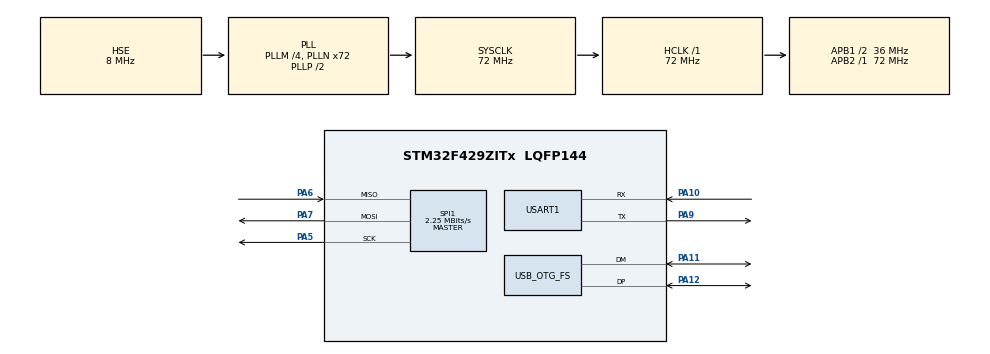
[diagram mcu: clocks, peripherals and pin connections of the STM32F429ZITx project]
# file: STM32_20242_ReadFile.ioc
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FATFS._MAX_SS=4096
FATFS._USE_LFN=1
Mcu.Family=STM32F4
Mcu.Name=STM32F429ZITx
Mcu.Package=LQFP144
NVIC.OTG_FS_IRQn=true\:0\:0\:false\:false\:true\:false\:true\:true
NVIC.PriorityGroup=NVIC_PRIORITYGROUP_4
NVIC.USART1_IRQn=true\:0\:0\:false\:false\:true\:true\:true\:true
PA10.Mode=Asynchronous
PA10.Signal=USART1_RX
PA11.Mode=Device_Only
PA11.Signal=USB_OTG_FS_DM
PA12.Mode=Device_Only
PA12.Signal=USB_OTG_FS_DP
PA5.Mode=Full_Duplex_Master
PA5.Signal=SPI1_SCK
PA6.Mode=Full_Duplex_Master
PA6.Signal=SPI1_MISO
PA7.Mode=Full_Duplex_Master
PA7.Signal=SPI1_MOSI
PA9.Mode=Asynchronous
PA9.Signal=USART1_TX
PH0/OSC_IN.Mode=HSE-External-Oscillator
PH0/OSC_IN.Signal=RCC_OSC_IN
PH1/OSC_OUT.Mode=HSE-External-Oscillator
PH1/OSC_OUT.Signal=RCC_OSC_OUT
ProjectManager.HeapSize=0x200
ProjectManager.StackSize=0x400
ProjectManager.TargetToolchain=STM32CubeIDE
RCC.48MHZClocksFreq_Value=48000000
RCC.AHBFreq_Value=72000000
RCC.APB1CLKDivider=RCC_HCLK_DIV2
RCC.APB1Freq_Value=36000000
RCC.APB1TimFreq_Value=72000000
RCC.APB2Freq_Value=72000000
RCC.APB2TimFreq_Value=72000000
RCC.CortexFreq_Value=72000000
RCC.HCLKFreq_Value=72000000
RCC.HSE_VALUE=8000000
RCC.HSI_VALUE=16000000
RCC.LSE_VALUE=32768
RCC.PLLM=4
RCC.PLLN=72
RCC.PLLQ=3
RCC.SYSCLKFreq_VALUE=72000000
RCC.SYSCLKSource=RCC_SYSCLKSOURCE_PLLCLK
RCC.VCOOutputFreq_Value=144000000
SPI1.BaudRatePrescaler=SPI_BAUDRATEPRESCALER_32
SPI1.CalculateBaudRate=2.25 MBits/s
SPI1.Direction=SPI_DIRECTION_2LINES
SPI1.Mode=SPI_MODE_MASTER
SPI1.VirtualType=VM_MASTER
USART1.VirtualMode=VM_ASYNC
USB_DEVICE.CLASS_NAME_FS=MSC
USB_DEVICE.VirtualMode-MSC_FS=Msc
USB_DEVICE.VirtualModeFS=Msc_FS
USB_OTG_FS.VirtualMode=Device_Only
VP_FATFS_VS_Generic.Mode=User_defined
VP_USB_DEVICE_VS_USB_DEVICE_MSC_FS.Mode=MSC_FS
board=custom

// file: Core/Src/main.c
/* USER CODE BEGIN Header */
/**
  ******************************************************************************
  * @file           : main.c
  * @brief          : Main program body
  ******************************************************************************
  * @attention
  *
  * Copyright (c) 2025 STMicroelectronics.
  * All rights reserved.
  *
  * This software is licensed under terms that can be found in the LICENSE file
  * in the root directory of this software component.
  * If no LICENSE file comes with this software, it is provided AS-IS.
  *
  ******************************************************************************
  */
/* USER CODE END Header */
#include "main.h"
#include "fatfs.h"
#include "usb_device.h"
#include "string.h"
#include "fatfs_sd.h"
#include "stm32f4xx_hal.h"
#include <stdint.h>

/* USER CODE BEGIN PTD */
//#define f_size(fp)  ((fp)->obj.objsize)

/* USER CODE END PTD */

SPI_HandleTypeDef hspi1;

UART_HandleTypeDef huart1;

void SystemClock_Config(void);
static void MX_GPIO_Init(void);
static void MX_SPI1_Init(void);
static void MX_USART1_UART_Init(void);
/* USER CODE BEGIN PFP */
void SD_List_File(void);
void SD_creatSubDir(char* filename);
void SD_deleteFolder(char* foldername);
/* USER CODE END PFP */

/* USER CODE BEGIN 0 */
FATFS fs;
FIL fil;
FRESULT fresult;
char buffer[1024];

UINT br, bw;

FATFS *pfs;			// con trỏ đến hệ thống file system
DWORD fre_clust;
uint32_t total, free_space;
char option[4];
char namebuf[128];
char filebuf[1024];
FRESULT fres;

void send_uart(char *string)
{
	uint16_t len = strlen(string);
  char buf1[len];
  memset(buf1, 0, sizeof(buf1));
  strcpy(buf1, string);
  HAL_UART_Transmit(&huart1,(char*) buf1, sizeof(buf1), 2000);

}

int bufsize(char *buf){
	int i=0;
	while (*buf++ != '\0' )i++;

	return i;
}

void clear_buffer (void)
{
	for (int i=0; i<1024; i++) buffer[i] = '\0';
}

// Hàm nhận chuỗi từ UART (blocking, kết thúc khi gặp '!' hoặc '\n')
void uart_receive_string(char* buf, uint16_t maxlen) {
    uint16_t i = 0;
    char c;
    while (i < maxlen - 1) {
        HAL_UART_Receive(&huart1, (uint8_t*)&c, 1, HAL_MAX_DELAY);
        if (c == '!' || c == '\n') break;
        buf[i++] = c;
        HAL_UART_Transmit(&huart1, (uint8_t*)&c, 1, 100); // Echo lại ký tự
    }
    buf[i] = '\0';
    char crlf[2] = "\r\n";
    HAL_UART_Transmit(&huart1, (uint8_t*)crlf, 2, 100);
}

// Hàm nhận 1 ký tự từ UART (dùng cho chọn option)
char uart_receive_char(void) {
    char c;
    HAL_UART_Receive(&huart1, (uint8_t*)&c, 1, HAL_MAX_DELAY);
    HAL_UART_Transmit(&huart1, (uint8_t*)&c, 1, 100); // Echo lại ký tự
    char crlf[2] = "\r\n";
    HAL_UART_Transmit(&huart1, (uint8_t*)crlf, 2, 100);
    return c;
}
/* USER CODE END 0 */

int main(void)
{

  /* MCU Configuration--------------------------------------------------------*/

  /* Reset of all peripherals, Initializes the Flash interface and the Systick. */
  HAL_Init();

  /* Configure the system clock */
  SystemClock_Config();

  /* Initialize all configured peripherals */
  MX_GPIO_Init();
  MX_SPI1_Init();
  MX_USART1_UART_Init();
  MX_FATFS_Init();
  MX_USB_DEVICE_Init();
  /* USER CODE BEGIN 2 */
  HAL_Delay(500);
  // Mount the SD card

    fresult = f_mount(&fs, "/", 1);
      	if (fresult != FR_OK) send_uart ("ERROR in mounting SD CARD...\n\n");
      	else send_uart("SD CARD mounted successfully...\n\n");

      	/*************** Card capacity details ********************/

      	/* Check free space */
      	f_getfree("", &fre_clust, &pfs);

      	total = (uint32_t)((pfs->n_fatent - 2) * pfs->csize * 0.5);
      	sprintf (buffer, "SD CARD Total Size: \t%lu\n",total);
      	send_uart(buffer);
      	clear_buffer();
      	free_space = (uint32_t)(fre_clust * pfs->csize * 0.5);
      	sprintf (buffer, "SD CARD Free Space: \t%lu\n\n",free_space);
      	send_uart(buffer);
      	clear_buffer();

  /* USER CODE END 2 */

  /* Infinite loop */
  while (1)
  {
	  send_uart("==== SD Card Menu ====\r\n");
	  	       send_uart("0. Stop program\r\n");
	  	       send_uart("1. List files\r\n");
	  	       send_uart("2. Create directory\r\n");
	  	       send_uart("3. Delete directory\r\n");
	  	       send_uart("4. Create file \r\n");
	  	       send_uart("5. Delete file\r\n");
	  	       send_uart("6. Update an existing file\r\n");
	  	       send_uart("Please enter option number: ");

	  	       char opt = uart_receive_char();

	  	       switch (opt) {
	  	           case '0':
	  	               send_uart("Stopping program.\r\n");
	  	               while(1); // Dừng chương trình
	  	               break;
	  	           case '1':
	  	               send_uart("Files on SD card:\r\n");
	  	               SD_List_File();
	  	               break;
	  	           case '2':
	  	               send_uart("Please enter directory name: ");
	  	               uart_receive_string(namebuf, sizeof(namebuf));
	  	               SD_creatSubDir(namebuf);
	  	               send_uart("Directory created!\r\n");
	  	               break;
	  	           case '3':
	  	               send_uart("Please enter directory name to delete: ");
	  	               uart_receive_string(namebuf, sizeof(namebuf));
	  	               SD_deleteFolder(namebuf);
	  	               send_uart("Directory deleted!\r\n");
	  	               break;
	  	           case '4':
	  	               send_uart("Please enter file name to create: ");
	  	               uart_receive_string(namebuf, sizeof(namebuf));
	  	               fres = f_open(&fil, namebuf, FA_CREATE_ALWAYS | FA_WRITE);
	  	               if (fres == FR_OK) {
	  	                   send_uart("Enter content (end with !):\r\n");

	  	                   uart_receive_string(filebuf, sizeof(filebuf));
	  	                   fres = f_write(&fil, filebuf, bufsize(filebuf), &bw);
	  	                   if (fres == FR_OK) send_uart("File created and written!\r\n");
	  	                   else send_uart("Failed to write file!\r\n");
	  	                   f_close(&fil);
	  	               } else {
	  	                   send_uart("Failed to create file!\r\n");
	  	               }
	  	               break;
	  	           case '5':
	  	               send_uart("Please enter file name to delete: ");
	  	               uart_receive_string(namebuf, sizeof(namebuf));
	  	               char pathbuf[64] = {0};
	                   snprintf(pathbuf, sizeof(pathbuf), "/%s", namebuf);
	  	               fres = f_unlink(pathbuf);
	  	               if (fres == FR_OK) send_uart("File deleted!\r\n");
	  	               else send_uart("Failed to delete file!\r\n");
	  	               break;

	  	           case '6':
	  	               send_uart("Please enter file name to update: ");
	  	               uart_receive_string(namebuf, sizeof(namebuf));
	  	               fres = f_open(&fil, namebuf, FA_OPEN_EXISTING | FA_WRITE | FA_READ);
	  	               if (fres == FR_OK) {
	  	                   f_lseek(&fil, f_size(&fil));
	  	                   memset(filebuf, '0', sizeof(filebuf));
	  	                   send_uart("Enter content to append (end with !):\r\n");

	  	                   uart_receive_string(filebuf, sizeof(filebuf));
	  	                   fres = f_puts(filebuf, &fil);
	  	                   f_close(&fil);
	  	               } else {
	  	                   send_uart("Failed to open file for update!\r\n");
	  	               }
	  	               break;
	  	           default:
	  	               send_uart("Invalid option!\r\n");
	  	               break;
	  	       }

  }
}

void SystemClock_Config(void)
{
  RCC_OscInitTypeDef RCC_OscInitStruct = {0};
  RCC_ClkInitTypeDef RCC_ClkInitStruct = {0};

  /** Configure the main internal regulator output voltage
  */
  __HAL_RCC_PWR_CLK_ENABLE();
  __HAL_PWR_VOLTAGESCALING_CONFIG(PWR_REGULATOR_VOLTAGE_SCALE3);

  /** Initializes the RCC Oscillators according to the specified parameters
  * in the RCC_OscInitTypeDef structure.
  */
  RCC_OscInitStruct.OscillatorType = RCC_OSCILLATORTYPE_HSE;
  RCC_OscInitStruct.HSEState = RCC_HSE_ON;
  RCC_OscInitStruct.PLL.PLLState = RCC_PLL_ON;
  RCC_OscInitStruct.PLL.PLLSource = RCC_PLLSOURCE_HSE;
  RCC_OscInitStruct.PLL.PLLM = 4;
  RCC_OscInitStruct.PLL.PLLN = 72;
  RCC_OscInitStruct.PLL.PLLP = RCC_PLLP_DIV2;
  RCC_OscInitStruct.PLL.PLLQ = 3;
  if (HAL_RCC_OscConfig(&RCC_OscInitStruct) != HAL_OK)
  {
    Error_Handler();
  }

  /** Initializes the CPU, AHB and APB buses clocks
  */
  RCC_ClkInitStruct.ClockType = RCC_CLOCKTYPE_HCLK|RCC_CLOCKTYPE_SYSCLK
                              |RCC_CLOCKTYPE_PCLK1|RCC_CLOCKTYPE_PCLK2;
  RCC_ClkInitStruct.SYSCLKSource = RCC_SYSCLKSOURCE_PLLCLK;
  RCC_ClkInitStruct.AHBCLKDivider = RCC_SYSCLK_DIV1;
  RCC_ClkInitStruct.APB1CLKDivider = RCC_HCLK_DIV2;
  RCC_ClkInitStruct.APB2CLKDivider = RCC_HCLK_DIV1;

  if (HAL_RCC_ClockConfig(&RCC_ClkInitStruct, FLASH_LATENCY_2) != HAL_OK)
  {
    Error_Handler();
  }
}

static void MX_SPI1_Init(void)
{

  /* SPI1 parameter configuration*/
  hspi1.Instance = SPI1;
  hspi1.Init.Mode = SPI_MODE_MASTER;
  hspi1.Init.Direction = SPI_DIRECTION_2LINES;
  hspi1.Init.DataSize = SPI_DATASIZE_8BIT;
  hspi1.Init.CLKPolarity = SPI_POLARITY_LOW;
  hspi1.Init.CLKPhase = SPI_PHASE_1EDGE;
  hspi1.Init.NSS = SPI_NSS_SOFT;
  hspi1.Init.BaudRatePrescaler = SPI_BAUDRATEPRESCALER_32;
  hspi1.Init.FirstBit = SPI_FIRSTBIT_MSB;
  hspi1.Init.TIMode = SPI_TIMODE_DISABLE;
  hspi1.Init.CRCCalculation = SPI_CRCCALCULATION_DISABLE;
  hspi1.Init.CRCPolynomial = 10;
  if (HAL_SPI_Init(&hspi1) != HAL_OK)
  {
    Error_Handler();
  }

}

static void MX_USART1_UART_Init(void)
{

  huart1.Instance = USART1;
  huart1.Init.BaudRate = 115200;
  huart1.Init.WordLength = UART_WORDLENGTH_8B;
  huart1.Init.StopBits = UART_STOPBITS_1;
  huart1.Init.Parity = UART_PARITY_NONE;
  huart1.Init.Mode = UART_MODE_TX_RX;
  huart1.Init.HwFlowCtl = UART_HWCONTROL_NONE;
  huart1.Init.OverSampling = UART_OVERSAMPLING_16;
  if (HAL_UART_Init(&huart1) != HAL_OK)
  {
    Error_Handler();
  }

}

static void MX_GPIO_Init(void)
{

  /* GPIO Ports Clock Enable */
  __HAL_RCC_GPIOH_CLK_ENABLE();
  __HAL_RCC_GPIOA_CLK_ENABLE();

}

void Error_Handler(void)
{
  __disable_irq();
  while (1)
  {
  }
}
